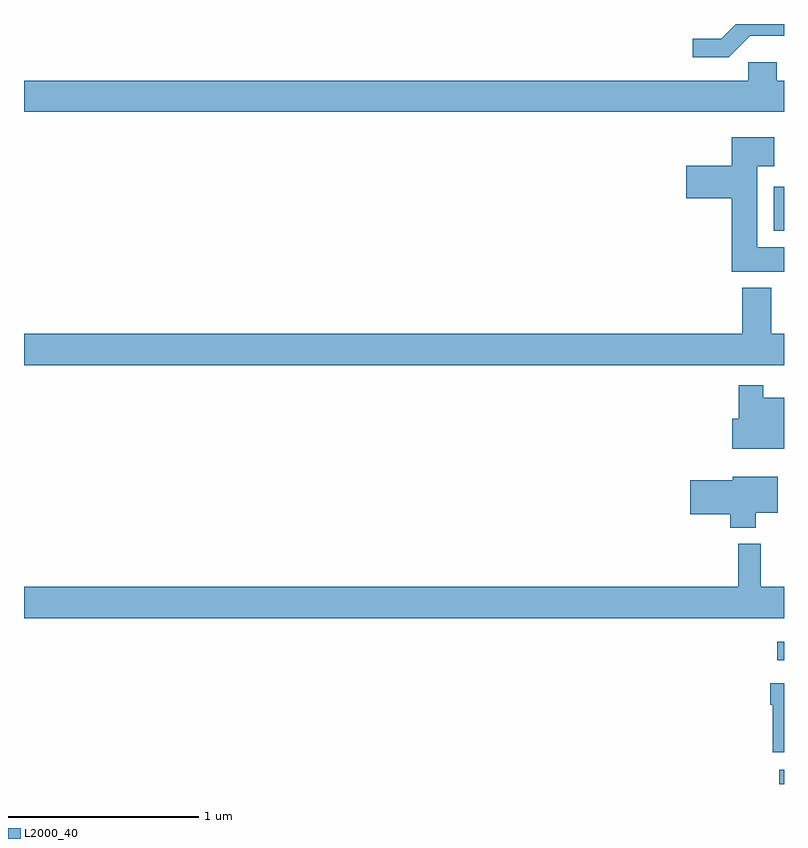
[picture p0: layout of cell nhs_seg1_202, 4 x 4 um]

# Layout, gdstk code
import gdstk
lib = gdstk.Library(unit=1e-6, precision=1e-09)
def R(c, l, rs):  # rectangles x0, y0, x1, y1
    for r in rs: c.add(gdstk.rectangle(r[:2], r[2:], *l))
def P(c, l, *ps):  # polygons
    for p in ps: c.add(gdstk.Polygon(p, *l))
L2000_40 = (2000, 40)

nhs_seg1_202 = lib.new_cell('nhs_seg1_202')
R(nhs_seg1_202, L2000_40, [(124.975,544.199,125,544.275), (124.965,544.851,125,544.947), (124.946,547.112,125,547.342)])
P(nhs_seg1_202, L2000_40, [(124.823,548.138),(125,548.138),(125,548.199),(124.746,548.199),(124.669,548.122),(124.521,548.122),(124.521,548.025),(124.71,548.025)],
  [(125,547.9),(124.963,547.9),(124.963,547.998),(124.812,547.998),(124.812,547.9),(121,547.9),(121,547.736),(125,547.736)],
  [(125,547.024),(124.858,547.024),(124.858,547.451),(124.948,547.451),(124.948,547.603),(124.724,547.603),(124.724,547.453),(124.485,547.453),(124.485,547.283),(124.724,547.283),(124.724,546.896),(125,546.896)],
  [(125,546.568),(124.933,546.568),(124.933,546.811),(124.781,546.811),(124.781,546.568),(121,546.568),(121,546.404),(125,546.404)],
  [(125,546.232),(124.891,546.232),(124.891,546.298),(124.762,546.298),(124.762,546.121),(124.728,546.121),(124.728,545.963),(125,545.963)],
  [(124.852,545.627),(124.966,545.627),(124.966,545.815),(124.73,545.815),(124.73,545.798),(124.506,545.798),(124.506,545.62),(124.718,545.62),(124.718,545.549),(124.852,545.549)],
  [(125,545.236),(124.877,545.236),(124.877,545.464),(124.759,545.464),(124.759,545.236),(121,545.236),(121,545.072),(125,545.072)],
  [(125,544.729),(124.928,544.729),(124.928,544.616),(124.94,544.616),(124.94,544.367),(125,544.367)])

lib.write_gds('nhs_seg1_202.gds')
